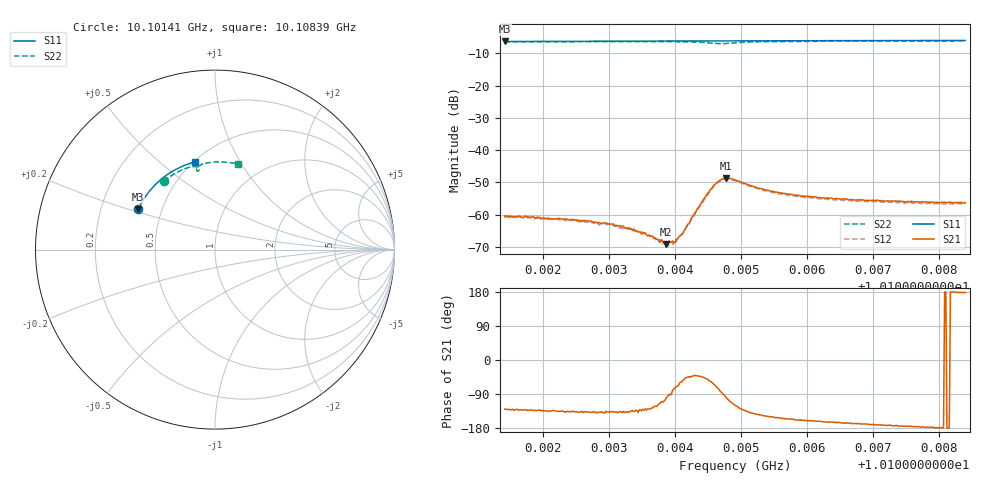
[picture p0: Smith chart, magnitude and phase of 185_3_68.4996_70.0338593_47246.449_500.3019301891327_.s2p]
#  HZ  S  RI  R  50.00
! Rohde & Schwarz Vector Network Analyzer
! Rohde-Schwarz,ZNB20-2Port,1311601062101988,3.16
! Created: UTC 3/20/2024, 4:56:53 PM
! freq[Hz]  re:S11  im:S11  re:S21  im:S21  re:S12  im:S12  re:S22  im:S22
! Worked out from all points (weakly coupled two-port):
!   401 points, 10.10141 GHz to 10.10839 GHz, reference 50 ohm
!   highest |S21| = -48.66 dB at 10.10476 GHz (marker M1); lowest = -69.2 dB at 10.10386 GHz (marker M2)
!   lowest |S11| = -6.3 dB at 10.10141 GHz (marker M3), VSWR 2.87, Z = 18.4 + j10.8 ohm
!   |S11| at or under -10 dB: nowhere
!   |S22| runs from -7.0 to -6.1 dB; largest |S21 - S12| = 0.00036
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1.0101411e10  -0.427 0.2264  -0.000604 -0.000725  -0.000524 -0.000727  -0.2854 0.3806
1.0101917e10  -0.413 0.2541  -0.000608 -0.000662  -0.00055 -0.000682  -0.2593 0.4008
1.0102581e10  -0.3922 0.2886  -0.000584 -0.000579  -0.000507 -0.000579  -0.2227 0.4242
1.0103035e10  -0.3762 0.3112  -0.000521 -0.000495  -0.000446 -0.000514  -0.196 0.4383
1.0103192e10  -0.3704 0.3188  -0.000501 -0.000434  -0.000416 -0.000459  -0.1865 0.4429
1.0103297e10  -0.3666 0.3237  -0.000457 -0.000433  -0.000397 -0.000447  -0.1799 0.4458
1.0103611e10  -0.3542 0.3383  -0.000297 -0.000354  -0.000254 -0.000413  -0.1596 0.4535
1.0103751e10  -0.3487 0.3448  -0.000186 -0.000368  -0.000143 -0.000353  -0.15 0.4568
1.0103855e10  -0.3443 0.3495  -7.39e-05 -0.000338  -1.34e-05 -0.000324  -0.1425 0.4589
1.010389e10  -0.343 0.351  -2.74e-05 -0.000353  3.81e-06 -0.000333  -0.14 0.4595
1.0103995e10  -0.3386 0.3556  0.000113 -0.00036  0.000148 -0.000318  -0.1321 0.4612
1.0104117e10  -0.3334 0.361  0.000314 -0.000415  0.000337 -0.000386  -0.1223 0.4623
1.0104362e10  -0.3227 0.3714  0.000995 -0.000922  0.00102 -0.000789  -0.1008 0.4598
1.0104554e10  -0.3141 0.3792  0.00131 -0.00223  0.00146 -0.00204  -0.0883 0.4472
1.0104658e10  -0.3095 0.3833  0.000729 -0.00326  0.000977 -0.00307  -0.0908 0.4387
1.0104763e10  -0.3047 0.3873  -0.000499 -0.00366  -0.000183 -0.00353  -0.0988 0.4387
1.0104903e10  -0.2983 0.3927  -0.00168 -0.00301  -0.00137 -0.00305  -0.1023 0.4499
1.01052e10  -0.2843 0.4041  -0.00211 -0.00166  -0.00188 -0.00178  -0.0856 0.4696
1.0105427e10  -0.2734 0.4123  -0.00201 -0.00118  -0.00184 -0.00131  -0.0692 0.4768
1.0106073e10  -0.2407 0.434  -0.00177 -0.00062  -0.00164 -0.000771  -0.0242 0.4863
1.0107242e10  -0.1776 0.4662  -0.0016 -0.000223  -0.00153 -0.000337  0.0528 0.4878
1.0108395e10  -0.1117 0.4886  -0.00154 5.24e-05  -0.00147 -0.000114  0.126 0.4769
